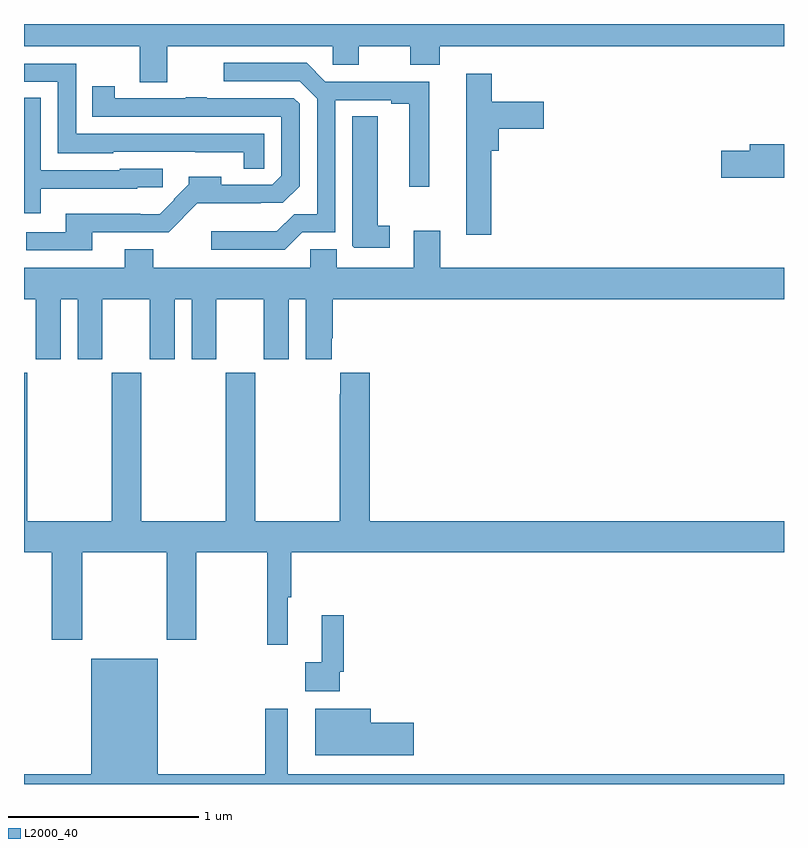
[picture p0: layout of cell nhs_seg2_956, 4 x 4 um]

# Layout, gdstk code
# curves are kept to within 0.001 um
import gdstk
lib = gdstk.Library(unit=1e-6, precision=1e-09)
def P(c, l, *ps):  # polygons
    for p in ps: c.add(gdstk.Polygon(p, *l))
L2000_40 = (2000, 40)

nhs_seg2_956 = lib.new_cell('nhs_seg2_956')
P(nhs_seg2_956, L2000_40, [(161.755,599.684),(162.624,599.684),(162.624,599.586),(162.763,599.586),(162.763,599.684),(163.034,599.684),(163.034,599.585),(163.187,599.585),(163.187,599.684),(165,599.684),(165,599.8),(161,599.8),(161,599.684),(161.608,599.684),(161.608,599.494),(161.755,599.494)],
  [(162.465,598.704),(162.639,598.704),(162.639,599.4),(162.932,599.4),(162.932,599.38),(163.028,599.38),(163.028,598.944),(163.132,598.944),(163.132,599.496),(162.586,599.496),(162.487,599.595),(162.051,599.595),(162.051,599.499),(162.45,599.499),(162.543,599.406),(162.543,598.799),(162.422,598.799),(162.331,598.708),(161.985,598.708),(161.985,598.611),(162.372,598.611)],
  [(162.264,599.223),(161.274,599.223),(161.274,599.592),(161,599.592),(161,599.496),(161.178,599.496),(161.178,599.12),(161.469,599.12),(161.469,599.127),(161.901,599.127),(161.901,599.126),(162.156,599.126),(162.156,599.038),(162.264,599.038)],
  [(163.46,599.132),(163.499,599.132),(163.499,599.249),(163.735,599.249),(163.735,599.391),(163.463,599.391),(163.463,599.539),(163.328,599.539),(163.328,598.692),(163.46,598.692)],
  [(161.359,598.704),(161.763,598.704),(161.839,598.781),(161.837,598.783),(161.911,598.857),(162.245,598.856),(162.245,598.858),(162.361,598.858),(162.45,598.947),(162.45,599.379),(162.42,599.409),(161.963,599.409),(161.963,599.414),(161.851,599.414),(161.851,599.409),(161.478,599.409),(161.478,599.473),(161.359,599.473),(161.359,599.313),(162.354,599.313),(162.354,599.001),(162.306,598.953),(162.037,598.953),(162.037,598.996),(161.866,598.996),(161.866,598.957),(161.787,598.878),(161.79,598.875),(161.714,598.799),(161.612,598.799),(161.612,598.801),(161.219,598.801),(161.219,598.704),(161.013,598.704),(161.013,598.608),(161.359,598.608)],
  [(161.089,598.934),(161.595,598.934),(161.595,598.941),(161.73,598.941),(161.73,599.037),(161.505,599.037),(161.505,599.031),(161.088,599.031),(161.088,599.411),(161,599.411),(161,598.805),(161.089,598.805)],
  [(162.925,598.739),(162.862,598.739),(162.862,599.315),(162.728,599.315),(162.728,598.633),(162.738,598.623),(162.925,598.623)],
  [(165,599.168),(164.819,599.168),(164.819,599.132),(164.67,599.132),(164.67,598.99),(165,598.99)],
  [(161.194,598.352),(161.282,598.352),(161.282,598.035),(161.413,598.035),(161.413,598.352),(161.663,598.352),(161.663,598.035),(161.794,598.035),(161.794,598.352),(161.882,598.352),(161.882,598.035),(162.013,598.035),(162.013,598.352),(162.263,598.352),(162.263,598.035),(162.394,598.035),(162.394,598.352),(162.482,598.352),(162.482,598.035),(162.619,598.035),(162.619,598.147),(162.626,598.147),(162.626,598.352),(165,598.352),(165,598.516),(163.192,598.516),(163.192,598.711),(163.052,598.711),(163.052,598.516),(162.646,598.516),(162.646,598.614),(162.507,598.614),(162.507,598.516),(161.679,598.516),(161.679,598.615),(161.531,598.615),(161.531,598.516),(161,598.516),(161,598.352),(161.063,598.352),(161.063,598.035),(161.194,598.035)],
  [(162.389,596.784),(162.407,596.784),(162.407,597.02),(165,597.02),(165,597.184),(162.821,597.184),(162.821,597.964),(162.665,597.964),(162.665,597.851),(162.661,597.851),(162.661,597.184),(162.216,597.184),(162.216,597.964),(162.061,597.964),(162.061,597.184),(161.616,597.184),(161.616,597.964),(161.461,597.964),(161.461,597.184),(161.016,597.184),(161.016,597.964),(161,597.964),(161,597.02),(161.147,597.02),(161.147,596.559),(161.307,596.559),(161.307,597.02),(161.752,597.02),(161.752,596.559),(161.907,596.559),(161.907,597.02),(162.279,597.02),(162.279,596.532),(162.389,596.532)],
  [(162.663,596.392),(162.683,596.392),(162.683,596.689),(162.566,596.689),(162.566,596.441),(162.48,596.441),(162.48,596.288),(162.663,596.288)],
  [(165,595.852),(162.388,595.852),(162.388,596.197),(162.271,596.197),(162.271,595.852),(161.704,595.852),(161.704,596.458),(161.354,596.458),(161.354,595.852),(161,595.852),(161,595.8),(165,595.8)],
  [(163.051,596.123),(162.826,596.123),(162.826,596.197),(162.533,596.197),(162.533,595.952),(163.051,595.952)])

lib.write_gds('nhs_seg2_956.gds')
